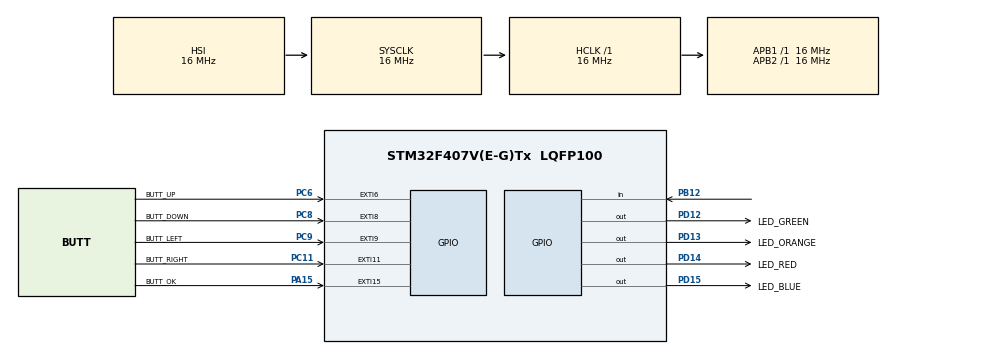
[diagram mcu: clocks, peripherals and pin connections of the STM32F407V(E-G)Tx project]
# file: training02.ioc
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Mcu.Family=STM32F4
Mcu.Name=STM32F407V(E-G)Tx
Mcu.Package=LQFP100
NVIC.EXTI15_10_IRQn=true\:0\:0\:false\:false\:true\:true\:true
NVIC.EXTI9_5_IRQn=true\:0\:0\:false\:false\:true\:true\:true
NVIC.PriorityGroup=NVIC_PRIORITYGROUP_4
PA15.GPIO_Label=BUTT_OK
PA15.GPIO_ModeDefaultEXTI=GPIO_MODE_IT_FALLING
PA15.GPIO_PuPd=GPIO_NOPULL
PA15.Signal=GPXTI15
PB12.Signal=GPIO_Input
PC11.GPIO_Label=BUTT_RIGHT
PC11.GPIO_ModeDefaultEXTI=GPIO_MODE_IT_FALLING
PC11.GPIO_PuPd=GPIO_NOPULL
PC11.Signal=GPXTI11
PC6.GPIO_Label=BUTT_UP
PC6.GPIO_ModeDefaultEXTI=GPIO_MODE_IT_FALLING
PC6.GPIO_PuPd=GPIO_NOPULL
PC6.Signal=GPXTI6
PC8.GPIO_Label=BUTT_DOWN
PC8.GPIO_ModeDefaultEXTI=GPIO_MODE_IT_FALLING
PC8.GPIO_PuPd=GPIO_NOPULL
PC8.Signal=GPXTI8
PC9.GPIO_Label=BUTT_LEFT
PC9.GPIO_ModeDefaultEXTI=GPIO_MODE_IT_FALLING
PC9.GPIO_PuPd=GPIO_NOPULL
PC9.Signal=GPXTI9
PD12.GPIO_Label=LED_GREEN
PD12.Signal=GPIO_Output
PD13.GPIO_Label=LED_ORANGE
PD13.Signal=GPIO_Output
PD14.GPIO_Label=LED_RED
PD14.Signal=GPIO_Output
PD15.GPIO_Label=LED_BLUE
PD15.Signal=GPIO_Output
ProjectManager.HeapSize=0x200
ProjectManager.StackSize=0x400
ProjectManager.TargetToolchain=STM32CubeIDE
RCC.AHBFreq_Value=16000000
RCC.APB1Freq_Value=16000000
RCC.APB1TimFreq_Value=16000000
RCC.APB2Freq_Value=16000000
RCC.APB2TimFreq_Value=16000000
RCC.CortexFreq_Value=16000000
RCC.HCLKFreq_Value=16000000
RCC.HSE_VALUE=25000000
RCC.HSI_VALUE=16000000
RCC.LSE_VALUE=32768
RCC.SYSCLKFreq_VALUE=16000000
RCC.VCOOutputFreq_Value=192000000
VP_RNG_VS_RNG.Mode=RNG_Activate
board=custom

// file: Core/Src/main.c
/* USER CODE BEGIN Header */
/**
 ******************************************************************************
 * @file           : main.c
 * @brief          : Main program body
 ******************************************************************************
 * @attention
 *
 * <h2><center>&copy; Copyright (c) 2021 STMicroelectronics.
 * All rights reserved.</center></h2>
 *
 * This software component is licensed by ST under BSD 3-Clause license,
 * the "License"; You may not use this file except in compliance with the
 * License. You may obtain a copy of the License at:
 *                        opensource.org/licenses/BSD-3-Clause
 *
 ******************************************************************************
 */
/* USER CODE END Header */
#include "main.h"

/* USER CODE BEGIN PD */
#define DELAY_STEP_DEFAULT 7
#define DELAY_STEP_MIN 1
#define DELAY_STEP_MAX 15
#define DELAY_MAX 100
#define DELAY_MIN 1
#define TRUE 1
#define FALSE 0
#define NUM_OF_LEDS 4
#define NUM_OF_MODES 3
#define FIRST_MODE 1
#define RANDOM_MODE_DELAY 10
/* USER CODE END PD */

RNG_HandleTypeDef hrng;

/* USER CODE BEGIN PV */
uint16_t ledSelect[NUM_OF_LEDS] = { LED_GREEN_Pin, LED_ORANGE_Pin, LED_RED_Pin,	LED_BLUE_Pin };
int8_t currentDelay;
uint8_t delayStep = DELAY_STEP_DEFAULT;
uint8_t currentLED;
uint8_t mode = 1;
uint32_t randomNumber;
_Bool sleep;
_Bool increaseFlag;
/* USER CODE END PV */

void SystemClock_Config(void);
static void MX_GPIO_Init(void);
static void MX_RNG_Init(void);
/* USER CODE BEGIN PFP */
void defineDelay(void);
/* USER CODE END PFP */

/* USER CODE BEGIN 0 */

/* @brief GPIO EXTI PIN Handler
 * @param GPIO PIN caused an interruption
 * @retval None
 * */
void HAL_GPIO_EXTI_Callback(uint16_t GPIO_Pin) {

	switch (GPIO_Pin) {
	case BUTT_UP_Pin:
		if(delayStep < DELAY_STEP_MAX) delayStep++;
		break;
	case BUTT_DOWN_Pin:
		if(delayStep > DELAY_STEP_MIN) delayStep--;
		break;
	case BUTT_LEFT_Pin:
		if (mode <= FIRST_MODE) mode = NUM_OF_MODES;
		else mode--;
		break;
	case BUTT_RIGHT_Pin:
		if (mode >= NUM_OF_MODES) mode = FIRST_MODE;
		else mode++;
		break;
	case BUTT_OK_Pin:
		if (sleep){
			HAL_ResumeTick();
			sleep = FALSE;
		}
		else sleep = TRUE;
		break;
	}

}

void defineDelay(void){
	/* defining delay */
	if (increaseFlag == TRUE) {
		if (currentDelay < DELAY_MAX){
			currentDelay += delayStep;
			if (currentDelay > DELAY_MAX)currentDelay = DELAY_MAX;
		}
		else {
			currentDelay = DELAY_MAX;
			increaseFlag = FALSE;
			}
		}
	else {
		if (currentDelay > DELAY_MIN){

			currentDelay -= delayStep;
			if (currentDelay < DELAY_MIN) currentDelay = DELAY_MIN;
		}
		else {
			currentDelay = DELAY_MIN;
			increaseFlag = TRUE;
			}
		}
	HAL_Delay(currentDelay);
}
/* USER CODE END 0 */

int main(void)
{

  /* MCU Configuration--------------------------------------------------------*/

  /* Reset of all peripherals, Initializes the Flash interface and the Systick. */
  HAL_Init();

  /* Configure the system clock */
  SystemClock_Config();

  /* Initialize all configured peripherals */
  MX_GPIO_Init();
  MX_RNG_Init();

  /* Infinite loop */
  /* USER CODE BEGIN WHILE */
	while (1) {
		if (!sleep){
	    	switch (mode) {
	    	case 1:
	    		/* consecutive light up one LED with cyclically changing delay*/
	    		for (uint8_t i = 0; i < NUM_OF_LEDS; i++) {
	    			if (i != currentLED)HAL_GPIO_WritePin(GPIOD, ledSelect[i], GPIO_PIN_RESET);
	    			else HAL_GPIO_WritePin(GPIOD, ledSelect[i], GPIO_PIN_SET);
	    		}
	    		break;
	    	case 2:
	    		/* consecutive switch off one LED with cyclically changing delay */
	    		for (uint8_t i = 0; i < NUM_OF_LEDS; i++) {
	    			if (i == currentLED) HAL_GPIO_WritePin(GPIOD, ledSelect[i], GPIO_PIN_RESET);
	    			else HAL_GPIO_WritePin(GPIOD, ledSelect[i], GPIO_PIN_SET);
	    		}
	    		break;
	    	case 3:
	    		/* randomly lighting LEDs with constant delay */
	    		HAL_RNG_GenerateRandomNumber(&hrng, &randomNumber);
				HAL_GPIO_WritePin(GPIOD, LED_GREEN_Pin|LED_ORANGE_Pin|LED_RED_Pin|LED_BLUE_Pin, GPIO_PIN_RESET);

	    		for (uint8_t i = 0; i < 4; i++){
	    			if (randomNumber & (1 << i)) HAL_GPIO_WritePin(GPIOD, ledSelect[i], GPIO_PIN_SET);
	    		}
	    		HAL_Delay(RANDOM_MODE_DELAY * delayStep);
	    		continue;
	    		break;
	    	}

	    	/* moving to next LED */
	    	if (currentLED < NUM_OF_LEDS)
	    		currentLED++;
	    	else currentLED = 0;

	    	defineDelay();
	    }
		else {
			HAL_GPIO_WritePin(GPIOD, LED_GREEN_Pin|LED_ORANGE_Pin|LED_RED_Pin|LED_BLUE_Pin, GPIO_PIN_RESET);
			HAL_SuspendTick();
			HAL_PWR_EnterSLEEPMode(PWR_MAINREGULATOR_ON, PWR_SLEEPENTRY_WFI);
		}
    /* USER CODE END WHILE */

	}
}

void SystemClock_Config(void)
{
  RCC_OscInitTypeDef RCC_OscInitStruct = {0};
  RCC_ClkInitTypeDef RCC_ClkInitStruct = {0};

  /** Configure the main internal regulator output voltage
  */
  __HAL_RCC_PWR_CLK_ENABLE();
  __HAL_PWR_VOLTAGESCALING_CONFIG(PWR_REGULATOR_VOLTAGE_SCALE1);
  /** Initializes the RCC Oscillators according to the specified parameters
  * in the RCC_OscInitTypeDef structure.
  */
  RCC_OscInitStruct.OscillatorType = RCC_OSCILLATORTYPE_HSI;
  RCC_OscInitStruct.HSIState = RCC_HSI_ON;
  RCC_OscInitStruct.HSICalibrationValue = RCC_HSICALIBRATION_DEFAULT;
  RCC_OscInitStruct.PLL.PLLState = RCC_PLL_ON;
  RCC_OscInitStruct.PLL.PLLSource = RCC_PLLSOURCE_HSI;
  RCC_OscInitStruct.PLL.PLLM = 16;
  RCC_OscInitStruct.PLL.PLLN = 192;
  RCC_OscInitStruct.PLL.PLLP = RCC_PLLP_DIV2;
  RCC_OscInitStruct.PLL.PLLQ = 4;
  if (HAL_RCC_OscConfig(&RCC_OscInitStruct) != HAL_OK)
  {
    Error_Handler();
  }
  /** Initializes the CPU, AHB and APB buses clocks
  */
  RCC_ClkInitStruct.ClockType = RCC_CLOCKTYPE_HCLK|RCC_CLOCKTYPE_SYSCLK
                              |RCC_CLOCKTYPE_PCLK1|RCC_CLOCKTYPE_PCLK2;
  RCC_ClkInitStruct.SYSCLKSource = RCC_SYSCLKSOURCE_HSI;
  RCC_ClkInitStruct.AHBCLKDivider = RCC_SYSCLK_DIV1;
  RCC_ClkInitStruct.APB1CLKDivider = RCC_HCLK_DIV1;
  RCC_ClkInitStruct.APB2CLKDivider = RCC_HCLK_DIV1;

  if (HAL_RCC_ClockConfig(&RCC_ClkInitStruct, FLASH_LATENCY_0) != HAL_OK)
  {
    Error_Handler();
  }
}

static void MX_RNG_Init(void)
{

  hrng.Instance = RNG;
  if (HAL_RNG_Init(&hrng) != HAL_OK)
  {
    Error_Handler();
  }

}

static void MX_GPIO_Init(void)
{
  GPIO_InitTypeDef GPIO_InitStruct = {0};

  /* GPIO Ports Clock Enable */
  __HAL_RCC_GPIOB_CLK_ENABLE();
  __HAL_RCC_GPIOD_CLK_ENABLE();
  __HAL_RCC_GPIOC_CLK_ENABLE();
  __HAL_RCC_GPIOA_CLK_ENABLE();

  /*Configure GPIO pin Output Level */
  HAL_GPIO_WritePin(GPIOD, LED_GREEN_Pin|LED_ORANGE_Pin|LED_RED_Pin|LED_BLUE_Pin, GPIO_PIN_RESET);

  /*Configure GPIO pin : PB12 */
  GPIO_InitStruct.Pin = GPIO_PIN_12;
  GPIO_InitStruct.Mode = GPIO_MODE_INPUT;
  GPIO_InitStruct.Pull = GPIO_NOPULL;
  HAL_GPIO_Init(GPIOB, &GPIO_InitStruct);

  /*Configure GPIO pins : LED_GREEN_Pin LED_ORANGE_Pin LED_RED_Pin LED_BLUE_Pin */
  GPIO_InitStruct.Pin = LED_GREEN_Pin|LED_ORANGE_Pin|LED_RED_Pin|LED_BLUE_Pin;
  GPIO_InitStruct.Mode = GPIO_MODE_OUTPUT_PP;
  GPIO_InitStruct.Pull = GPIO_NOPULL;
  GPIO_InitStruct.Speed = GPIO_SPEED_FREQ_LOW;
  HAL_GPIO_Init(GPIOD, &GPIO_InitStruct);

  /*Configure GPIO pins : BUTT_UP_Pin BUTT_DOWN_Pin BUTT_LEFT_Pin BUTT_RIGHT_Pin */
  GPIO_InitStruct.Pin = BUTT_UP_Pin|BUTT_DOWN_Pin|BUTT_LEFT_Pin|BUTT_RIGHT_Pin;
  GPIO_InitStruct.Mode = GPIO_MODE_IT_FALLING;
  GPIO_InitStruct.Pull = GPIO_NOPULL;
  HAL_GPIO_Init(GPIOC, &GPIO_InitStruct);

  /*Configure GPIO pin : BUTT_OK_Pin */
  GPIO_InitStruct.Pin = BUTT_OK_Pin;
  GPIO_InitStruct.Mode = GPIO_MODE_IT_FALLING;
  GPIO_InitStruct.Pull = GPIO_NOPULL;
  HAL_GPIO_Init(BUTT_OK_GPIO_Port, &GPIO_InitStruct);

  /* EXTI interrupt init*/
  HAL_NVIC_SetPriority(EXTI9_5_IRQn, 0, 0);
  HAL_NVIC_EnableIRQ(EXTI9_5_IRQn);

  HAL_NVIC_SetPriority(EXTI15_10_IRQn, 0, 0);
  HAL_NVIC_EnableIRQ(EXTI15_10_IRQn);

}

void Error_Handler(void)
{
	__disable_irq();
	while (1) {
	}
}

/************************ (C) COPYRIGHT STMicroelectronics *****END OF FILE****/
